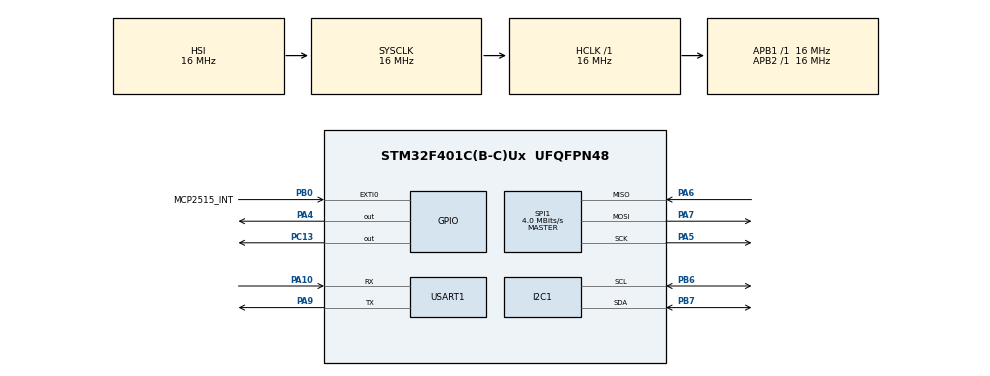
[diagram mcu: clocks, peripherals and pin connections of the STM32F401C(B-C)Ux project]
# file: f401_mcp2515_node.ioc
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FREERTOS.INCLUDE_uxTaskGetStackHighWaterMark2=1
FREERTOS.Tasks01=LogTask,8,1024,StartLogTask,Default,NULL,Dynamic,NULL,NULL;CanRxTask,40,512,StartCanRxTask,Default,NULL,Dynamic,NULL,NULL
FREERTOS.configCHECK_FOR_STACK_OVERFLOW=2
FREERTOS.configTOTAL_HEAP_SIZE=16384
FREERTOS.configUSE_NEWLIB_REENTRANT=1
Mcu.Family=STM32F4
Mcu.Name=STM32F401C(B-C)Ux
Mcu.Package=UFQFPN48
NVIC.EXTI0_IRQn=true\:6\:0\:true\:false\:true\:true\:true\:true\:true
NVIC.PriorityGroup=NVIC_PRIORITYGROUP_4
NVIC.TIM1_TRG_COM_TIM11_IRQn=true\:15\:0\:false\:false\:true\:false\:false\:true\:true
NVIC.TimeBase=TIM1_TRG_COM_TIM11_IRQn
NVIC.TimeBaseIP=TIM11
PA10.Mode=Asynchronous
PA10.Signal=USART1_RX
PA13.Mode=Serial_Wire
PA13.Signal=SYS_JTMS-SWDIO
PA14.Mode=Serial_Wire
PA14.Signal=SYS_JTCK-SWCLK
PA4.Signal=GPIO_Output
PA5.Mode=Full_Duplex_Master
PA5.Signal=SPI1_SCK
PA6.Mode=Full_Duplex_Master
PA6.Signal=SPI1_MISO
PA7.Mode=Full_Duplex_Master
PA7.Signal=SPI1_MOSI
PA9.Mode=Asynchronous
PA9.Signal=USART1_TX
PB0.GPIO_Label=MCP2515_INT
PB0.GPIO_ModeDefaultEXTI=GPIO_MODE_IT_FALLING
PB0.GPIO_PuPd=GPIO_PULLUP
PB0.Signal=GPXTI0
PB6.Mode=I2C
PB6.Signal=I2C1_SCL
PB7.Mode=I2C
PB7.Signal=I2C1_SDA
PC13-ANTI_TAMP.Signal=GPIO_Output
ProjectManager.HeapSize=0x200
ProjectManager.StackSize=0x400
ProjectManager.TargetToolchain=STM32CubeIDE
RCC.AHBFreq_Value=16000000
RCC.APB1Freq_Value=16000000
RCC.APB2Freq_Value=16000000
RCC.CortexFreq_Value=16000000
RCC.HSE_VALUE=25000000
RCC.HSI_VALUE=16000000
RCC.LSE_VALUE=32768
RCC.SYSCLKFreq_VALUE=16000000
RCC.VCOOutputFreq_Value=192000000
SPI1.BaudRatePrescaler=SPI_BAUDRATEPRESCALER_4
SPI1.CalculateBaudRate=4.0 MBits/s
SPI1.Direction=SPI_DIRECTION_2LINES
SPI1.Mode=SPI_MODE_MASTER
SPI1.VirtualType=VM_MASTER
USART1.VirtualMode=VM_ASYNC
VP_FREERTOS_VS_CMSIS_V2.Mode=CMSIS_V2
VP_SYS_VS_tim11.Mode=TIM11
board=custom

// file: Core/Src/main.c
/* USER CODE BEGIN Header */
/**
  ******************************************************************************
  * @file           : main.c
  * @brief          : Main program body
  ******************************************************************************
  * @attention
  *
  * Copyright (c) 2026 STMicroelectronics.
  * All rights reserved.
  *
  * This software is licensed under terms that can be found in the LICENSE file
  * in the root directory of this software component.
  * If no LICENSE file comes with this software, it is provided AS-IS.
  *
  ******************************************************************************
  */
/* USER CODE END Header */
#include "main.h"
#include "cmsis_os.h"
#include "i2c.h"
#include "spi.h"
#include "usart.h"
#include "gpio.h"

/* USER CODE BEGIN Includes */
#include "mcp2515.h"
#include "can_protocol.h"
#include "debug.h"
/* USER CODE END Includes */

/* USER CODE BEGIN PD */
/* The receive loop, its statistics and the experiment knobs now live in
   freertos.c, split between CanRxTask and LogTask. */
/* USER CODE END PD */

void SystemClock_Config(void);
void MX_FREERTOS_Init(void);

int main(void)
{

  /* MCU Configuration--------------------------------------------------------*/

  /* Reset of all peripherals, Initializes the Flash interface and the Systick. */
  HAL_Init();

  /* Configure the system clock */
  SystemClock_Config();

  /* Initialize all configured peripherals */
  MX_GPIO_Init();
  MX_I2C1_Init();
  MX_USART1_UART_Init();
  MX_SPI1_Init();
  /* USER CODE BEGIN 2 */
  LOG("\r\n=== f401 MCP2515 receiver node (FreeRTOS) ===\r\n");

  /* Bring-up runs here, before the scheduler starts, while this is still the
     only thread of execution: HAL_Delay and HAL_GetTick work because the HAL
     timebase is TIM11 rather than SysTick, and LOG is safe because no task
     exists yet to contend for the UART. From the moment the scheduler starts,
     the MCP2515 belongs to CanRxTask and the UART to LogTask. */
  if (!MCP2515_Init(MCP2515_BITRATE_500KBPS))
  {
    LOG("MCP2515 init FAILED - CANSTAT=0x%02X\r\n",
        (unsigned int)MCP2515_Read(MCP_CANSTAT));
    LOG("check: SPI wiring (PA4/5/6/7), supply, 8MHz crystal, CAN bus\r\n");
    Error_Handler();
  }

  LOG("MCP2515 ready - 500 kbit/s, normal mode, listening for 0x%03X/0x%03X\r\n",
      (unsigned int)CAN_ID_ACCEL, (unsigned int)CAN_ID_GYRO);
  /* USER CODE END 2 */

  /* Init scheduler */
  osKernelInitialize();  /* Call init function for freertos objects (in cmsis_os2.c) */
  MX_FREERTOS_Init();

  /* Start scheduler */
  osKernelStart();

  /* We should never get here as control is now taken by the scheduler */

  /* Infinite loop */
  while (1)
  {

  }
}

void SystemClock_Config(void)
{
  RCC_OscInitTypeDef RCC_OscInitStruct = {0};
  RCC_ClkInitTypeDef RCC_ClkInitStruct = {0};

  /** Configure the main internal regulator output voltage
  */
  __HAL_RCC_PWR_CLK_ENABLE();
  __HAL_PWR_VOLTAGESCALING_CONFIG(PWR_REGULATOR_VOLTAGE_SCALE2);

  /** Initializes the RCC Oscillators according to the specified parameters
  * in the RCC_OscInitTypeDef structure.
  */
  RCC_OscInitStruct.OscillatorType = RCC_OSCILLATORTYPE_HSI;
  RCC_OscInitStruct.HSIState = RCC_HSI_ON;
  RCC_OscInitStruct.HSICalibrationValue = RCC_HSICALIBRATION_DEFAULT;
  RCC_OscInitStruct.PLL.PLLState = RCC_PLL_NONE;
  if (HAL_RCC_OscConfig(&RCC_OscInitStruct) != HAL_OK)
  {
    Error_Handler();
  }

  /** Initializes the CPU, AHB and APB buses clocks
  */
  RCC_ClkInitStruct.ClockType = RCC_CLOCKTYPE_HCLK|RCC_CLOCKTYPE_SYSCLK
                              |RCC_CLOCKTYPE_PCLK1|RCC_CLOCKTYPE_PCLK2;
  RCC_ClkInitStruct.SYSCLKSource = RCC_SYSCLKSOURCE_HSI;
  RCC_ClkInitStruct.AHBCLKDivider = RCC_SYSCLK_DIV1;
  RCC_ClkInitStruct.APB1CLKDivider = RCC_HCLK_DIV1;
  RCC_ClkInitStruct.APB2CLKDivider = RCC_HCLK_DIV1;

  if (HAL_RCC_ClockConfig(&RCC_ClkInitStruct, FLASH_LATENCY_0) != HAL_OK)
  {
    Error_Handler();
  }
}

void HAL_TIM_PeriodElapsedCallback(TIM_HandleTypeDef *htim)
{
  if (htim->Instance == TIM11)
  {
    HAL_IncTick();
  }
}

void Error_Handler(void)
{
  __disable_irq();
  while (1)
  {
  }
}

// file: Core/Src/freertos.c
/* USER CODE BEGIN Header */
/**
  ******************************************************************************
  * File Name          : freertos.c
  * Description        : Code for freertos applications
  ******************************************************************************
  * @attention
  *
  * Copyright (c) 2026 STMicroelectronics.
  * All rights reserved.
  *
  * This software is licensed under terms that can be found in the LICENSE file
  * in the root directory of this software component.
  * If no LICENSE file comes with this software, it is provided AS-IS.
  *
  ******************************************************************************
  */
/* USER CODE END Header */

#include "FreeRTOS.h"
#include "task.h"
#include "main.h"
#include "cmsis_os.h"

/* USER CODE BEGIN Includes */
#include <stdbool.h>
#include <string.h>
#include "queue.h"
#include "usart.h"
#include "mcp2515.h"
#include "can_protocol.h"
#include "debug.h"
/* USER CODE END Includes */

/* USER CODE BEGIN PTD */

/* Running totals since start-up. CanRxTask is the only writer and never resets
   them; LogTask keeps its own previous copy and reports the difference. With a
   single writer and no resets there is nothing for the two tasks to race over
   except the copy itself, which is taken in a critical section. */
typedef struct
{
  uint32_t frames;
  uint32_t accel;
  uint32_t gyro;
  uint32_t other;
  uint32_t fromRxb0;
  uint32_t fromRxb1;
  uint32_t overflowRxb0;   /* sticky-flag detections, not frames lost */
  uint32_t overflowRxb1;
  uint32_t logDropped;     /* frames received fine but not printed */
  uint32_t wakeups;        /* times CanRxTask was woken by the INT pin */
} RxCounters_t;

/* Controller status, captured by CanRxTask - the only task allowed to talk to
   the MCP2515 - after a second with no frames, and printed by LogTask. */
typedef struct
{
  uint8_t canstat;
  uint8_t eflg;
  uint8_t tec;
  uint8_t rec;
  uint8_t cnf2;
  bool valid;
} BusStatus_t;

/* USER CODE END PTD */

/* USER CODE BEGIN PD */

/* Print every received frame. This no longer slows reception: printing happens
   in LogTask, and CanRxTask only hands frames over through a queue it never
   waits on. When the UART cannot keep up, frames that do not fit in the queue
   are still received and counted - they are just not printed, and logDropped
   says how many. Set to 0 to skip the queue entirely. */
#define LOG_EVERY_FRAME      1

#define STATS_PERIOD_MS      1000u

/* The queue absorbs bursts, not a sustained rate difference: at ~2000
   frames/s against a UART that prints ~285 lines/s, no length would be enough.
   32 covers the ~7 frames that arrive while a single line is being printed. */
#define LOG_QUEUE_LENGTH     32u

/* How long CanRxTask sleeps without an INT edge before it checks the
   controller's status registers, so a silent bus is still diagnosable. */
#define RX_IDLE_TIMEOUT_MS   1000u

/* Room for every task the kernel reports: our two, Idle, and the timer
   service task, with spare. uxTaskGetSystemState returns 0 if it is too small. */
#define CPU_STATS_MAX_TASKS  8u

/* The run-time clock is the Cortex-M CPU cycle counter shifted down by 4. At
   16 MHz that makes one count roughly one microsecond. The unit cancels out
   of every percentage, so a different clock speed changes nothing but the
   scale. */
#define RUN_TIME_SHIFT       4u

/* USER CODE END PD */

/* USER CODE BEGIN Variables */

static QueueHandle_t logQueue;

/* Native FreeRTOS handles, taken by each task for itself. The ISR reads
   canRxTask, so it is volatile; it stays NULL until the task exists, and the
   ISR refuses to notify before then. */
static TaskHandle_t volatile canRxTask = NULL;
static TaskHandle_t logTask = NULL;

static RxCounters_t rxCounters;   /* written only by CanRxTask */
static BusStatus_t busStatus;     /* written only by CanRxTask */

/* USER CODE END Variables */
/* Definitions for LogTask */
osThreadId_t LogTaskHandle;
const osThreadAttr_t LogTask_attributes = {
  .name = "LogTask",
  .stack_size = 1024 * 4,
  .priority = (osPriority_t) osPriorityLow,
};
/* Definitions for CanRxTask */
osThreadId_t CanRxTaskHandle;
const osThreadAttr_t CanRxTask_attributes = {
  .name = "CanRxTask",
  .stack_size = 512 * 4,
  .priority = (osPriority_t) osPriorityHigh,
};

/* USER CODE BEGIN FunctionPrototypes */

static void DrainReceiveBuffers(void);
static void CaptureBusStatus(void);
static void PrintReport(uint32_t elapsedMs, const RxCounters_t *now,
                        const RxCounters_t *before);
#if LOG_EVERY_FRAME
static void PrintFrame(const MCP2515_Frame_t *frame);
#endif
#if configGENERATE_RUN_TIME_STATS == 1
static void PrintCpuLoad(void);
#endif

/* USER CODE END FunctionPrototypes */

void StartLogTask(void *argument);
void StartCanRxTask(void *argument);

void MX_FREERTOS_Init(void); /* (MISRA C 2004 rule 8.1) */

/* Hook prototypes */
void vApplicationStackOverflowHook(xTaskHandle xTask, signed char *pcTaskName);

/* USER CODE BEGIN 4 */
void vApplicationStackOverflowHook(xTaskHandle xTask, signed char *pcTaskName)
{
  (void)xTask;

  /* Called from the context switch, after the kernel has seen a task write
     past the end of its stack. Memory is already corrupt, so nothing elaborate
     can be trusted here - least of all LOG, which formats on a stack. Name the
     task straight to the UART as a best effort (if LogTask was mid-transmit
     the HAL reports busy and this prints nothing), then stop for good. */
  static const char prefix[] = "\r\n!!! stack overflow in task ";

  HAL_UART_Transmit(&huart1, (uint8_t *)prefix, (uint16_t)(sizeof(prefix) - 1u), 50u);
  HAL_UART_Transmit(&huart1, (uint8_t *)pcTaskName,
                    (uint16_t)strlen((const char *)pcTaskName), 50u);

  Error_Handler();
}
/* USER CODE END 4 */

void MX_FREERTOS_Init(void) {

  /* USER CODE BEGIN RTOS_MUTEX */
  /* No mutexes: each peripheral has exactly one owning task. */
  /* USER CODE END RTOS_MUTEX */

  /* USER CODE BEGIN RTOS_QUEUES */
  /* Created here rather than in CubeMX because the element type belongs to
     the MCP2515 driver. Frames are copied in by value, 12 bytes each. */
  logQueue = xQueueCreate(LOG_QUEUE_LENGTH, sizeof(MCP2515_Frame_t));
  if (logQueue == NULL)
  {
    Error_Handler();   /* heap too small */
  }
  /* USER CODE END RTOS_QUEUES */

  /* Create the thread(s) */
  /* creation of LogTask */
  LogTaskHandle = osThreadNew(StartLogTask, NULL, &LogTask_attributes);

  /* creation of CanRxTask */
  CanRxTaskHandle = osThreadNew(StartCanRxTask, NULL, &CanRxTask_attributes);

  /* USER CODE BEGIN RTOS_THREADS */
  /* osThreadNew returns NULL when the heap cannot hold the task's stack. That
     failure is otherwise silent - the task simply never runs. */
  if ((LogTaskHandle == NULL) || (CanRxTaskHandle == NULL))
  {
    Error_Handler();
  }
  /* USER CODE END RTOS_THREADS */

}

/* USER CODE BEGIN Header_StartLogTask */
/**
  * @brief  Sole owner of the UART. Prints frames handed over by CanRxTask and
  *         a statistics report once per STATS_PERIOD_MS.
  * @param  argument: Not used
  * @retval None
  */
/* USER CODE END Header_StartLogTask */
void StartLogTask(void *argument)
{
  /* USER CODE BEGIN StartLogTask */
  (void)argument;
  logTask = xTaskGetCurrentTaskHandle();

  const TickType_t reportPeriod = pdMS_TO_TICKS(STATS_PERIOD_MS);
  TickType_t lastReport = xTaskGetTickCount();
  RxCounters_t before;

  taskENTER_CRITICAL();
  before = rxCounters;
  taskEXIT_CRITICAL();

  for (;;)
  {
    /* Wait for a frame, but never past the next report deadline. This is how
       one task serves both jobs: even if the queue stays full and printing
       falls behind, the report still comes out once a second. */
    TickType_t sinceReport = xTaskGetTickCount() - lastReport;
    TickType_t wait = (sinceReport < reportPeriod) ? (reportPeriod - sinceReport) : 0;

    MCP2515_Frame_t frame;
    if (xQueueReceive(logQueue, &frame, wait) == pdPASS)
    {
#if LOG_EVERY_FRAME
      PrintFrame(&frame);
#endif
    }

    TickType_t now = xTaskGetTickCount();
    if ((now - lastReport) >= reportPeriod)
    {
      RxCounters_t current;

      /* CanRxTask has higher priority and could preempt this copy halfway,
         leaving some fields from before an update and some from after.
         A critical section makes the copy a single instant. It holds off
         interrupts for the duration of a 40-byte copy - microseconds. */
      taskENTER_CRITICAL();
      current = rxCounters;
      taskEXIT_CRITICAL();

      PrintReport((uint32_t)((now - lastReport) * portTICK_PERIOD_MS), &current, &before);
#if configGENERATE_RUN_TIME_STATS == 1
      PrintCpuLoad();
#endif

      before = current;
      lastReport = now;
    }
  }
  /* USER CODE END StartLogTask */
}

/* USER CODE BEGIN Header_StartCanRxTask */
/**
* @brief Sole owner of the MCP2515. Sleeps until the INT pin wakes it, then
*        drains both receive buffers and hands frames to LogTask.
* @param argument: Not used
* @retval None
*/
/* USER CODE END Header_StartCanRxTask */
void StartCanRxTask(void *argument)
{
  /* USER CODE BEGIN StartCanRxTask */
  (void)argument;

  /* Order matters. The handle must exist before the controller may raise INT,
     otherwise the first edge reaches an ISR that has no task to wake. */
  canRxTask = xTaskGetCurrentTaskHandle();
  MCP2515_EnableRxInterrupts();

  for (;;)
  {
    /* Drain first, sleep second. DrainReceiveBuffers calls MCP2515_Receive in
       a loop, and that function's own pin check (see mcp2515.c) is what
       decides when there is truly nothing left - a single call here already
       drains until INT is genuinely high, so no retry loop is needed at this
       level; an earlier version kept one here before that check moved into
       the driver. The reasoning it existed for still applies to the driver's
       loop: INT stays low as long as any frame is waiting, but the pin
       interrupt fires only on a falling edge, so a frame landing while the
       previous one is mid-read produces no new edge, and reading is the only
       way to notice it. Frames that arrived before interrupts were enabled
       are picked up by this same first pass. */
    DrainReceiveBuffers();

    /* Notifications latch: an edge between the pin check above and this call
       is not lost, the call simply returns at once. */
    if (ulTaskNotifyTake(pdTRUE, pdMS_TO_TICKS(RX_IDLE_TIMEOUT_MS)) == 0u)
    {
      CaptureBusStatus();
    }
    else
    {
      rxCounters.wakeups++;
    }
  }
  /* USER CODE END StartCanRxTask */
}

/* USER CODE BEGIN Application */

/* EXTI0 runs at NVIC priority 6, which is what makes calling a FromISR API
   legal here (configLIBRARY_MAX_SYSCALL_INTERRUPT_PRIORITY is 5). The ISR does
   no SPI and no printing - it only wakes the task that does. */
void HAL_GPIO_EXTI_Callback(uint16_t GPIO_Pin)
{
  if ((GPIO_Pin == MCP2515_INT_Pin) && (canRxTask != NULL))
  {
    BaseType_t higherPriorityTaskWoken = pdFALSE;

    vTaskNotifyGiveFromISR(canRxTask, &higherPriorityTaskWoken);

    /* If the woken task outranks whatever was interrupted - it always does
       unless CanRxTask itself was running - switch to it on ISR exit rather
       than at the next tick, up to a millisecond later. */
    portYIELD_FROM_ISR(higherPriorityTaskWoken);
  }
}

static void DrainReceiveBuffers(void)
{
  MCP2515_Frame_t frame = {0};

  while (MCP2515_Receive(&frame))
  {
    rxCounters.frames++;

    if (frame.id == CAN_ID_ACCEL)
    {
      rxCounters.accel++;
    }
    else if (frame.id == CAN_ID_GYRO)
    {
      rxCounters.gyro++;
    }
    else
    {
      rxCounters.other++;
    }

    if (frame.buffer == 0u)
    {
      rxCounters.fromRxb0++;
    }
    else
    {
      rxCounters.fromRxb1++;
    }

    HAL_GPIO_TogglePin(GPIOC, GPIO_PIN_13);

#if LOG_EVERY_FRAME
    /* Timeout 0: never wait for LogTask. If this task blocked here the
       controller's two-frame buffer would overflow while the UART caught up,
       rebuilding exactly the loss the bare-metal loop had. Better to drop a
       log line and count it. */
    if (xQueueSend(logQueue, &frame, 0) != pdPASS)
    {
      rxCounters.logDropped++;
    }
#endif

    /* Only dlc bytes of data[] are written per frame; clear the rest so a RAW
       dump never shows bytes left over from the previous frame. */
    memset(&frame, 0, sizeof(frame));
  }

  uint8_t overflow = MCP2515_ReadAndClearOverflow();
  if ((overflow & EFLG_RX0OVR) != 0u)
  {
    rxCounters.overflowRxb0++;
  }
  if ((overflow & EFLG_RX1OVR) != 0u)
  {
    rxCounters.overflowRxb1++;
  }
}

static void CaptureBusStatus(void)
{
  BusStatus_t status;

  status.canstat = MCP2515_Read(MCP_CANSTAT);
  status.eflg    = MCP2515_Read(MCP_EFLG);
  status.tec     = MCP2515_Read(MCP_TEC);
  status.rec     = MCP2515_Read(MCP_REC);
  /* A known non-zero value written at bring-up; reading it back tells a quiet
     bus (all the zeros above are real) from a dead SPI link (they are not). */
  status.cnf2    = MCP2515_Read(MCP_CNF2);
  status.valid   = true;

  taskENTER_CRITICAL();
  busStatus = status;
  taskEXIT_CRITICAL();
}

static void PrintReport(uint32_t elapsedMs, const RxCounters_t *now,
                        const RxCounters_t *before)
{
  uint32_t frames = now->frames - before->frames;
  uint32_t frameTenths = (elapsedMs > 0u) ? (frames * 10000u) / elapsedMs : 0u;

  if (frames == 0u)
  {
    BusStatus_t status;

    taskENTER_CRITICAL();
    status = busStatus;
    taskEXIT_CRITICAL();

    if (status.valid)
    {
      bool spiAlive = (status.cnf2 != 0x00u) && (status.cnf2 != 0xFFu);

      LOG("[rx] idle CANSTAT=0x%02X EFLG=0x%02X TEC=%u REC=%u CNF2=0x%02X spi=%s\r\n",
          (unsigned int)status.canstat, (unsigned int)status.eflg,
          (unsigned int)status.tec, (unsigned int)status.rec,
          (unsigned int)status.cnf2, spiAlive ? "ok" : "DEAD");
    }
    else
    {
      LOG("[rx] idle\r\n");
    }
  }
  else
  {
    LOG("[rx] %u.%u f/s accel=%u gyro=%u other=%u rxb0=%u rxb1=%u ovf0=%u ovf1=%u\r\n",
        (unsigned int)(frameTenths / 10u), (unsigned int)(frameTenths % 10u),
        (unsigned int)(now->accel - before->accel),
        (unsigned int)(now->gyro - before->gyro),
        (unsigned int)(now->other - before->other),
        (unsigned int)(now->fromRxb0 - before->fromRxb0),
        (unsigned int)(now->fromRxb1 - before->fromRxb1),
        (unsigned int)(now->overflowRxb0 - before->overflowRxb0),
        (unsigned int)(now->overflowRxb1 - before->overflowRxb1));
  }

  /* Health of the RTOS itself. heapmin is the lowest free heap ever seen, in
     bytes; the stack figures are the fewest words ever left unused. These are
     what turn the stack and heap sizes chosen in CubeMX from estimates into
     measurements. */
  LOG("[os] logdrop=%u wakeups=%u heapmin=%u stack_rx=%u stack_log=%u\r\n",
      (unsigned int)(now->logDropped - before->logDropped),
      (unsigned int)(now->wakeups - before->wakeups),
      (unsigned int)xPortGetMinimumEverFreeHeapSize(),
      (unsigned int)((canRxTask != NULL) ? uxTaskGetStackHighWaterMark(canRxTask) : 0u),
      (unsigned int)((logTask != NULL) ? uxTaskGetStackHighWaterMark(logTask) : 0u));
}

#if configGENERATE_RUN_TIME_STATS == 1

/* ---- Run-time statistics clock ---------------------------------------------

   The kernel needs a counter that advances much faster than its 1 ms tick;
   otherwise a task that runs for 300 us and yields is never charged for it.
   The Cortex-M4 already has one: DWT->CYCCNT counts every CPU cycle, needs no
   timer peripheral and no interrupt.

   CYCCNT is 32 bits and at 16 MHz wraps every ~268 s. The kernel keeps 32-bit
   totals, so feeding it CYCCNT directly would corrupt them at every wrap. The
   counter is therefore extended to 64 bits here - each call adds whatever has
   elapsed since the previous one, which unsigned subtraction gets right across
   a wrap - and shifted down to about one count per microsecond. That value
   wraps only every ~71 minutes, and the percentages below use differences
   over one report window, which unsigned arithmetic also handles.

   The kernel calls RunTimeStats_GetCounter at every context switch and inside
   uxTaskGetSystemState, never concurrently: the latter suspends the scheduler
   first. Both of our tasks wake at least once a second, so a wrap of CYCCNT
   can never go unobserved. */

static uint32_t runTimeLastCycles;
static uint64_t runTimeTotalCycles;

void RunTimeStats_ConfigureTimer(void)
{
  CoreDebug->DEMCR |= CoreDebug_DEMCR_TRCENA_Msk;   /* power up the DWT block */
  DWT->CYCCNT = 0u;
  DWT->CTRL |= DWT_CTRL_CYCCNTENA_Msk;

  runTimeLastCycles = 0u;
  runTimeTotalCycles = 0u;
}

uint32_t RunTimeStats_GetCounter(void)
{
  uint32_t cycles = DWT->CYCCNT;

  runTimeTotalCycles += (uint32_t)(cycles - runTimeLastCycles);
  runTimeLastCycles = cycles;

  return (uint32_t)(runTimeTotalCycles >> RUN_TIME_SHIFT);
}

static uint32_t PercentTenths(uint32_t part, uint32_t whole)
{
  return (uint32_t)(((uint64_t)part * 1000u) / whole);
}

/* Prints how the last report window's CPU time was split.

   busy is everything that was not the Idle task, so it is the load that
   matters. Two things to keep in mind when reading it:
   - Interrupt time is charged to whichever task was interrupted. An ISR that
     fires while Idle is running counts as idle, so busy slightly understates
     the true load.
   - A task that is always ready absorbs every spare cycle. With per-frame
     logging on and the queue permanently full, LogTask never blocks, Idle
     never runs, and busy reads ~100% whatever the real headroom is. The rx
     share is the informative number then; busy is informative when logging is
     off and LogTask spends its time asleep. */
static void PrintCpuLoad(void)
{
  static TaskStatus_t tasks[CPU_STATS_MAX_TASKS];
  static uint32_t previousTotal;
  static uint32_t previousRx;
  static uint32_t previousLog;
  static uint32_t previousIdle;

  uint32_t total = 0u;
  UBaseType_t count = uxTaskGetSystemState(tasks, CPU_STATS_MAX_TASKS, &total);

  if (count == 0u)
  {
    LOG("[cpu] unavailable - CPU_STATS_MAX_TASKS too small\r\n");
    return;
  }

  uint32_t rx = 0u;
  uint32_t logRun = 0u;
  uint32_t idle = 0u;

  for (UBaseType_t i = 0u; i < count; i++)
  {
    if (tasks[i].xHandle == canRxTask)
    {
      rx = tasks[i].ulRunTimeCounter;
    }
    else if (tasks[i].xHandle == logTask)
    {
      logRun = tasks[i].ulRunTimeCounter;
    }
    /* Idle is recognised by priority rather than name: kernel 10.3.1 keeps the
       idle task's name private to tasks.c, and nothing else runs at priority 0. */
    else if (tasks[i].uxBasePriority == tskIDLE_PRIORITY)
    {
      idle = tasks[i].ulRunTimeCounter;
    }
  }

  uint32_t windowTotal = total - previousTotal;
  uint32_t windowRx = rx - previousRx;
  uint32_t windowLog = logRun - previousLog;
  uint32_t windowIdle = idle - previousIdle;

  previousTotal = total;
  previousRx = rx;
  previousLog = logRun;
  previousIdle = idle;

  if (windowTotal == 0u)
  {
    return;
  }

  uint32_t idleTenths = PercentTenths(windowIdle, windowTotal);
  uint32_t busyTenths = (idleTenths < 1000u) ? (1000u - idleTenths) : 0u;
  uint32_t rxTenths = PercentTenths(windowRx, windowTotal);
  uint32_t logTenths = PercentTenths(windowLog, windowTotal);

  LOG("[cpu] busy=%u.%u%% rx=%u.%u%% log=%u.%u%% idle=%u.%u%%\r\n",
      (unsigned int)(busyTenths / 10u), (unsigned int)(busyTenths % 10u),
      (unsigned int)(rxTenths / 10u), (unsigned int)(rxTenths % 10u),
      (unsigned int)(logTenths / 10u), (unsigned int)(logTenths % 10u),
      (unsigned int)(idleTenths / 10u), (unsigned int)(idleTenths % 10u));
}

#endif /* configGENERATE_RUN_TIME_STATS == 1 */

#if LOG_EVERY_FRAME
static void PrintFrame(const MCP2515_Frame_t *frame)
{
  int16_t axes[3];

  /* Does the frame match the contract? A known ID carrying an unexpected DLC
     means the sender changed; print that distinguishably instead of silently
     decoding it wrong. */
  if (frame->dlc == CAN_AXES_DLC &&
      (frame->id == CAN_ID_ACCEL || frame->id == CAN_ID_GYRO))
  {
    CAN_UnpackAxes(frame->data, axes);

    LOG("%s  x=%6d  y=%6d  z=%6d\r\n",
        (frame->id == CAN_ID_ACCEL) ? "ACCEL" : "GYRO ",
        axes[0], axes[1], axes[2]);
  }
  else
  {
    LOG("RAW   ID=0x%03X DLC=%u  %02X %02X %02X %02X %02X %02X %02X %02X\r\n",
        (unsigned int)frame->id, (unsigned int)frame->dlc,
        frame->data[0], frame->data[1], frame->data[2], frame->data[3],
        frame->data[4], frame->data[5], frame->data[6], frame->data[7]);
  }
}
#endif

/* USER CODE END Application */
